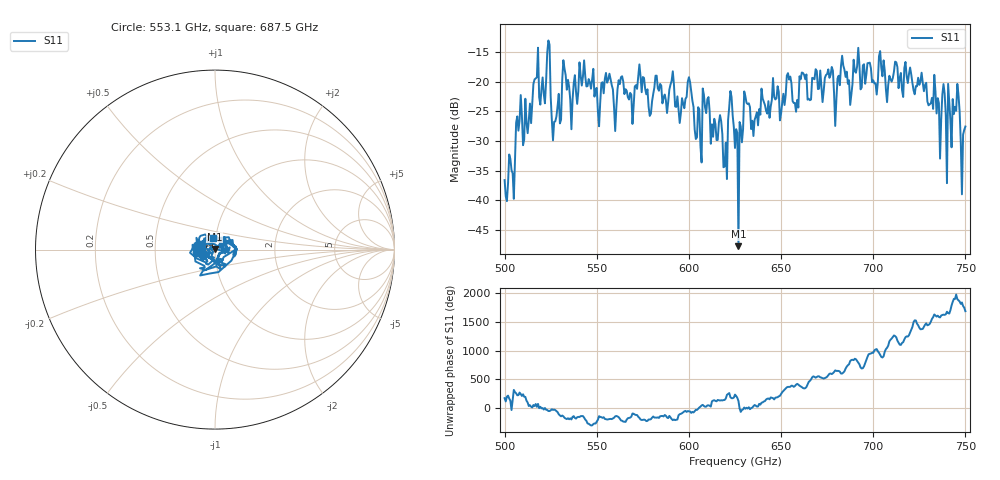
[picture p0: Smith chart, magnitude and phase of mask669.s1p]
!Created with skrf (http://scikit-rf.org).
# GHz S MA R 50.0
!freq magS11 angS11
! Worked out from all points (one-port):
!   401 points, 500 GHz to 750 GHz, reference 50 ohm
!   lowest |S11| = -47.8 dB at 626.9 GHz (marker M1), VSWR 1.01, Z = 49.8 + j0.348 ohm
!   |S11| at or under -10 dB: start of sweep to end of sweep
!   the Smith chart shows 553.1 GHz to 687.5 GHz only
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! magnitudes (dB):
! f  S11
! 500 GHz  -36.6
! 516.9 GHz  -19.4
! 520.6 GHz  -19.3
! 523.8 GHz  -13.0
! 526.9 GHz  -26.8
! 531.2 GHz  -19.8
! 556.2 GHz  -19.6
! 560 GHz  -28.3
! 562.5 GHz  -20.4
! 579.4 GHz  -25.4
! 590.6 GHz  -19.8
! 593.8 GHz  -22.5
! 600.6 GHz  -20.0
! 605.6 GHz  -24.6
! 608.8 GHz  -24.3
! 619.4 GHz  -34.3
! 622.5 GHz  -21.6
! 625 GHz  -31.2
! 626.9 GHz  -47.8
! 631.2 GHz  -23.6
! 635 GHz  -29.2
! 656.2 GHz  -23.3
! 680 GHz  -23.0
! 683.8 GHz  -17.2
! 687.5 GHz  -23.9
! 690.6 GHz  -18.5
! 718.8 GHz  -20.2
! 750 GHz  -27.6
